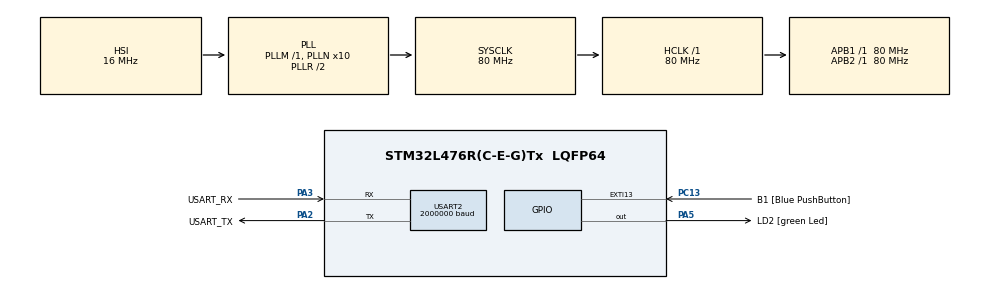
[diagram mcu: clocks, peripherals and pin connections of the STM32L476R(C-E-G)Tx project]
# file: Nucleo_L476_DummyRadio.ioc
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FREERTOS.Tasks01=defaultTask,0,128,StartDefaultTask,Default,NULL,Dynamic,NULL,NULL
Mcu.Family=STM32L4
Mcu.Name=STM32L476R(C-E-G)Tx
Mcu.Package=LQFP64
NVIC.PriorityGroup=NVIC_PRIORITYGROUP_4
NVIC.TIM6_DAC_IRQn=true\:15\:0\:false\:false\:true\:false\:false\:true\:true
NVIC.TimeBase=TIM6_DAC_IRQn
NVIC.TimeBaseIP=TIM6
PA13\ (JTMS-SWDIO).GPIO_Label=TMS
PA13\ (JTMS-SWDIO).Mode=Serial_Wire
PA13\ (JTMS-SWDIO).Signal=SYS_JTMS-SWDIO
PA14\ (JTCK-SWCLK).GPIO_Label=TCK
PA14\ (JTCK-SWCLK).Mode=Serial_Wire
PA14\ (JTCK-SWCLK).Signal=SYS_JTCK-SWCLK
PA2.GPIO_Label=USART_TX
PA2.GPIO_Mode=GPIO_MODE_AF_PP
PA2.GPIO_PuPd=GPIO_NOPULL
PA2.GPIO_Speed=GPIO_SPEED_FREQ_VERY_HIGH
PA2.Mode=Asynchronous
PA2.Signal=USART2_TX
PA3.GPIO_Label=USART_RX
PA3.GPIO_Mode=GPIO_MODE_AF_PP
PA3.GPIO_PuPd=GPIO_NOPULL
PA3.GPIO_Speed=GPIO_SPEED_FREQ_VERY_HIGH
PA3.Mode=Asynchronous
PA3.Signal=USART2_RX
PA5.GPIO_Label=LD2 [green Led]
PA5.GPIO_ModeDefaultOutputPP=GPIO_MODE_OUTPUT_PP
PA5.GPIO_PuPd=GPIO_NOPULL
PA5.GPIO_Speed=GPIO_SPEED_FREQ_LOW
PA5.Signal=GPIO_Output
PB3\ (JTDO-TRACESWO).GPIO_Label=SWO
PB3\ (JTDO-TRACESWO).Signal=SYS_JTDO-SWO
PC13.GPIO_Label=B1 [Blue PushButton]
PC13.GPIO_ModeDefaultEXTI=GPIO_MODE_IT_FALLING
PC13.GPIO_PuPd=GPIO_NOPULL
PC13.Signal=GPXTI13
PC14-OSC32_IN\ (PC14).Mode=LSE-External-Oscillator
PC14-OSC32_IN\ (PC14).Signal=RCC_OSC32_IN
PC15-OSC32_OUT\ (PC15).Mode=LSE-External-Oscillator
PC15-OSC32_OUT\ (PC15).Signal=RCC_OSC32_OUT
PH0-OSC_IN\ (PH0).Signal=RCC_OSC_IN
PH1-OSC_OUT\ (PH1).Signal=RCC_OSC_OUT
ProjectManager.HeapSize=0x200
ProjectManager.StackSize=0x400
ProjectManager.TargetToolchain=STM32CubeIDE
RCC.ADCFreq_Value=64000000
RCC.AHBFreq_Value=80000000
RCC.APB1Freq_Value=80000000
RCC.APB1TimFreq_Value=80000000
RCC.APB2Freq_Value=80000000
RCC.APB2TimFreq_Value=80000000
RCC.CortexFreq_Value=80000000
RCC.HCLKFreq_Value=80000000
RCC.HSE_VALUE=8000000
RCC.HSI_VALUE=16000000
RCC.MSI_VALUE=4000000
RCC.PLLN=10
RCC.PLLSourceVirtual=RCC_PLLSOURCE_HSI
RCC.PREFETCH_ENABLE=1
RCC.SYSCLKFreq_VALUE=80000000
RCC.SYSCLKSource=RCC_SYSCLKSOURCE_PLLCLK
RCC.USBFreq_Value=64000000
RCC.VCOOutputFreq_Value=160000000
USART2.BaudRate=2000000
USART2.VirtualMode-Asynchronous=VM_ASYNC
VP_CRC_VS_CRC.Mode=CRC_Activate
VP_FREERTOS_VS_CMSIS_V1.Mode=CMSIS_V1
VP_SYS_VS_tim6.Mode=TIM6
board=NUCLEO-L476RG

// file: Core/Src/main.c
/* USER CODE BEGIN Header */
/**
  ******************************************************************************
  * @file           : main.c
  * @brief          : Main program body
  ******************************************************************************
  * @attention
  *
  * <h2><center>&copy; Copyright (c) 2022 STMicroelectronics.
  * All rights reserved.</center></h2>
  *
  * This software component is licensed by ST under BSD 3-Clause license,
  * the "License"; You may not use this file except in compliance with the
  * License. You may obtain a copy of the License at:
  *                        opensource.org/licenses/BSD-3-Clause
  *
  ******************************************************************************
  */
/* USER CODE END Header */
#include "main.h"
#include "cmsis_os.h"

/* USER CODE BEGIN Includes */
#include <stdio.h>
#include <time.h>
#include <stdlib.h>
#include <stdint.h>
#include <string.h>
#include "pack_data.h"
#include "protocol_ids.h"
#include <stdbool.h>
/* USER CODE END Includes */

/* USER CODE BEGIN PD */
#define BSSR_SERIAL_START 0xa5
#define BSSR_SERIAL_ESCAPE 0x5a
#define BBMB_ADDRESS 0x01
#define PPTMB_ADDRESS 0x02
#define MCMB_ADDRESS 0x03
#define DCMB_ADDRESS 0x04

#define MAX_PACKET_SIZE 256
#define HEADER_LENGTH 4
#define CRC_LENGTH 4

//Data ID 00
#define BUS_METRICS_LENGTH 12
#define MC2_STATE_LENGTH 8
//Data ID 01
#define CELL_METRICS_LENGTH 20 //20 for each cell and there are 29 cell in total, single cell data send at once
#define PPT_METRICS_LENGTH 28 //16 for each ppt and there are 3 ptt in total + 4 non repeating initial bytes
#define SPEED_PULSE_READING_LENGTH 4
#define BBOX_STARTUP_LENGTH 4
//Data ID 02
#define BSD_LENGTH 4
#define MOTOR_TEMPERATURE_LENGTH 4
#define PPTBOX_STARTUP_LENGTH 4
//Data ID 03
#define BMS_MCU_STATUS_LENGTH 16
#define LIGHT_STATE_LENGTH 4
#define SUPP_BATTERY_LENGTH 8
//Data ID 04
#define STEERING_WHEEL_LENGTH 4
//Data ID 05
#define BMS_DATA_REQUEST_LENGTH 8
#define MOTOR_CONTROL_STATE_LENGTH 12
//Data ID 06
#define RELAY_STATE_LENGTH 8
//Data ID 07
#define PEDAL_ANGLE_LENGTH 12
#define BMS_CELL_TEMP_LENGTH 24
//Data ID 08
#define SIDE_PANEL_LENGTH 4
#define BMS_CELL_VOLT_LENGTH 24
//Data ID 09
#define BMS_CELL_SOC_LENGTH 24

//Data ID 0B
#define TEXT_STRING_LENGTH 4
//Data ID 0D
#define LP_BUS_METRICS_LENGTH 20
//Data ID 0E
#define CORE_TEMP_LENGTH 4
//Data ID 0F
#define  HEARTBEAT_LENGTH 4
/* USER CODE END PD */

CRC_HandleTypeDef hcrc;

UART_HandleTypeDef huart2;

osThreadId defaultTaskHandle;
/* USER CODE BEGIN PV */

uint8_t payload[1000];

//Data ID 00
uint8_t Bus_Metrics_Payload[BUS_METRICS_LENGTH];
uint8_t MC2_State_Payload[MC2_STATE_LENGTH];
//Data ID 01
uint8_t Cell_Metrics_Payload[CELL_METRICS_LENGTH];
uint8_t PPT_Metrics_Payload[PPT_METRICS_LENGTH];
uint8_t Speed_Pulse_Reading_Payload[SPEED_PULSE_READING_LENGTH];
uint8_t BBox_Startup_Payload[BBOX_STARTUP_LENGTH];
//Data ID 02
uint8_t BSD_Payload[BSD_LENGTH];
uint8_t Motor_Temperature_Payload[MOTOR_TEMPERATURE_LENGTH];
uint8_t PPTBox_Startup_Payload[PPTBOX_STARTUP_LENGTH];
//Data ID 03
uint8_t BMS_MCU_Status_Payload[BMS_MCU_STATUS_LENGTH];
uint8_t Light_State_Payload[LIGHT_STATE_LENGTH];
uint8_t Supp_Battery_Metric_Payload[SUPP_BATTERY_LENGTH];
//Data ID 04
uint8_t Streeting_Wheel_Payload[STEERING_WHEEL_LENGTH];
//Data ID 05
uint8_t BMS_Data_request[BMS_DATA_REQUEST_LENGTH];
uint8_t Motor_Control_State_Payload[MOTOR_CONTROL_STATE_LENGTH];
//Data ID 06
uint8_t Relay_State[RELAY_STATE_LENGTH];
//Data ID 07
uint8_t Pedal_Angle[PEDAL_ANGLE_LENGTH];
//Data ID 08
uint8_t Side_Panel[SIDE_PANEL_LENGTH];
//Data ID 0B
uint8_t Text_String[TEXT_STRING_LENGTH];
//Data ID 0D
uint8_t LP_Bus_Metrics_Payload[LP_BUS_METRICS_LENGTH];
//Data ID 0E
uint8_t Core_Temp_Payload[CORE_TEMP_LENGTH];
//Data ID 0F
uint8_t Heartbeat_Payload[HEARTBEAT_LENGTH];

//SeqNum is [0,255]
uint8_t BBMB_SeqNum = 0;
uint8_t PPTMB_SeqNum = 0;
uint8_t MCMB_SeqNum = 0;
uint8_t DCMB_SeqNum = 0;

/* USER CODE END PV */

void SystemClock_Config(void);
static void MX_GPIO_Init(void);
static void MX_USART2_UART_Init(void);
static void MX_CRC_Init(void);
void StartDefaultTask(void const * argument);

/* USER CODE BEGIN 0 */
/* DATA ASSUMPTIONS:
 * Temp Range: 20-60
 * Max Temp Range: 20-30
 * Min Temp Range: 40-60
 * Reference: Aymon
 *
 * Current Range: 0-2 (6 digits after decimal)
 * Reference: Visual inspection from GenX test telemetry data
 *
 * Voltage Range: 2-5 (6 digits after decimal)
 * Reference: Visual inspection from GenX test telemetry data
 *
 * Bus_Metrics_Generator:
 *   samples of aggregate(0x03): 0x01
 * Reference: GenX PPTMB -> main.c -> static void adcTask(const void *pv);
 *
 * PPT_Metrics_Generator:
 *   PPT numbers: 7
 *   # of Sample Aggregate: 0x01
 * Reference: GenX PPTMB -> main.c -> static void adcTask(const void *pv);
 *
 * Speed_Pulse_Reading_And_MOT_LED_State_Generator:
 *   MOT_LED state: 0-1
 *   Speed_pulse Hz(uint16_t count): 0-255
 * Reference: GenX MCMB -> main.c -> static void spdTmr(TimerHandle_t xTimer);
 *
 * MC2_State_Generator:
 *   5 digital Buttons: 00000-11110 = 0-30
 *   Acc Pot (outputVal): 0 or 0xff
 * Reference: GenX DCMB -> main.c -> static void mc2StateTmr(TimerHandle_t xTimer);
 *
 * BBox_Startup_Generator:
 *   State (ignition_state): 0-1
 * Reference: GenX DCMB -> main.c -> void ignition_check(uint8_t data);
 *
 * PPTBox_Startup_Generator:
 *   State (array_state): 0-1
 * Reference: GenX DCMB -> main.c -> void ignition_check(uint8_t data);
 *
 * Light_State_Generator:
 *   left, right, brake: 0-1
 * Reference: GenX DCMB -> main.c -> static void lightsTmr(TimerHandle_t xTimer);
 *
 * Horn_State_Generator:
 *   State (horn_on): 0-1
 * Reference: GenX DCMB -> main.c -> static void buttonCheck(uint8_t state);
 * */

//Generate a random value in [max, min]
//One byte can express number 0-255, thus max<=255 && min>=0 && max>min
uint8_t getRandomValue(int min, int max){
    uint8_t r = rand() % (max + 1 - min) + min;
    return r;
}

//Insert num of random value in p starting at p[startPos]
void insertRandomValue(uint8_t* p, int startPos, int num, int min, int max){
    for(int i = startPos; i<startPos+num; i++){
        uint8_t r = getRandomValue(min, max);
        *(p+i) = r;
    }
}

float getRandomFloat(int min, int max) {
    float random = ((float) rand()) / (float) RAND_MAX;
    float diff = max - min;
    float r = random * diff;
    return min + r;
}

//Data ID 00
//Data ID 00
void Bus_Metrics_Generator(uint8_t board_ID, uint8_t* p){
    *p = board_ID;
    *(p+1) = 0x00;
    *(p+2) = 0x00;
    *(p+3) = 0x01;
    insertRandomValue(p, 4, 8, 0, 255);
    *(p+12) = 0x00;

}
void MC2_State_Generator(uint8_t* p){
    *p = 0x00;
    insertRandomValue(p, 1, 1, 0, 30);
    *(p+2) = 0xff * getRandomValue(0,1);
    *(p+3) = 0x00;
    *(p+4) = 0x00;
    *(p+5) = 0x00;
    *(p+6) = 0x00;
    *(p+7) = 0x00;
}
//Data ID 01
void Cell_Metrics_Generator(uint8_t* p, uint8_t cellNum){
    *(p) = 0x01;
    *(p+1) = cellNum;
    *(p+2) = 0x00;
    *(p+3) = 0x01;
    insertRandomValue(p, 4, 16, 0, 255);
}
void PPT_Metrics_Generator(uint8_t* p){
    *p = PPTMB_PPT_METRICS_ID;
    *(p+1) = 7;
    *(p+2) = 0x00;
    *(p+3) = 0x01;
    *(p+4) = 0x00;
    *(p+5) = 0x00;
    *(p+6) = 0x00;
    *(p+7) = 0x00;
    insertRandomValue(p, 8, 4, 0, 255);
    *(p+12) = 0x00;
    *(p+13) = 0x00;
    *(p+14) = 0x00;
    *(p+15) = 0x00;
    *(p+16) = 0x00;
    *(p+17) = 0x00;
    *(p+18) = 0x00;
    *(p+19) = 0x00;
    *(p+20) = 0x00;
    *(p+21) = 0x00;
    *(p+22) = 0x00;
    *(p+23) = 0x00;
    *(p+24) = 0x00;
    *(p+25) = 0x00;
    *(p+26) = 0x00;
    *(p+27) = 0x00;
}
void Speed_Pulse_Reading_Generator(uint8_t* p){
    *p = 0x01;
    insertRandomValue(p, 1, 1, 0, 255);
    *(p+2) = 0x00;
    *(p+3) = 0x00;
}
void BBox_Startup_Generator(uint8_t* p){
    *p = 0x01;
    insertRandomValue(p, 1, 1, 0, 1);
    *(p+2) = 0x00;
    *(p+3) = 0x00;
}
//Data ID 02
void BSD_Generator(uint8_t* p){
    *p = 0x02;
    insertRandomValue(p, 1, 3, 0, 255);
}
void Motor_Temperature_Generator(uint8_t* p){
    *p = 0x02;
    insertRandomValue(p, 1, 1, 0, 40);
    *(p+2) = 0x00;
    *(p+3) = 0x00;
}
void PPTBox_Startup_Generator(uint8_t* p){
    *p = 0x02;
    insertRandomValue(p, 1, 1, 0, 1);
    *(p+2) = 0x00;
    *(p+3) = 0x00;
}
//Data ID 03
void BMS_MCU_Status_Generator(uint8_t* p){
    *p = 0x03;
    insertRandomValue(p, 1, 15, 0, 255);
}
void Light_State_Generator(uint8_t* p){
    *p = 0x03;
    insertRandomValue(p, 1, 3, 0, 1);
}
void Supp_Battery_Metric_Generator(uint8_t* p){
    *p = 0x03;
    insertRandomValue(p, 1, 7, 0, 1);
}
//Data ID 04
void Streeting_Wheel_Generator(uint8_t* p){
    *p = 0x04;
    insertRandomValue(p, 1, 1, 0, 1);
    *(p+2) = 0x00;
    *(p+3) = 0x00;
}
//Data ID 05
void BMS_Data_request_Generator(uint8_t* p){
    *p = 0x05;
    insertRandomValue(p,1,7,0,255); //insering random values for ID and current
}
void Motor_Control_State_Generator(uint8_t* p){
    *p = 0x05;
    insertRandomValue(p, 1, 11, 0, 1);
}
//Data ID 06
void Relay_State_Generator(uint8_t data_ID, uint8_t* p){
    *p = data_ID;
    insertRandomValue(p,1,7,0,1); //inserting 0 or 1 for all the other values
}
//Data ID 07
void Pedal_Angle_Generator(uint8_t* p){
    *p = 0x07;
    insertRandomValue(p,1,11,0,1);
}
void BMS_Cell_Temp_Generator(uint8_t* p) {
	float min = 20;
	float max = 100;
	p[0] = BMS_CELL_TEMP_ID;
	p[1] = getRandomValue(0, 6); // moduleID - representing one battery module
	p[2] = 0;
	p[3] = 0;
	floatToArray(getRandomFloat(min, max), p+4);
	floatToArray(getRandomFloat(min, max), p+8);
	floatToArray(getRandomFloat(min, max), p+12);
	floatToArray(getRandomFloat(min, max), p+16);
	floatToArray(getRandomFloat(min, max), p+20);
}

//Data ID 08
void Side_Panel_Generator(uint8_t* p){
    *p = 0x08;
    insertRandomValue(p,1,3,0,1);
}

void BMS_Cell_Volt_Generator(uint8_t* p) {
	float min = 3;  // cell voltage is between 3 and 4, usually around 3.7
	float max = 4;
	p[0] = BMS_CELL_VOLT_ID;
	p[1] = getRandomValue(0, 6); // moduleID
	p[2] = 0;
	p[3] = 0;
	floatToArray(getRandomFloat(min, max), p+4);
	floatToArray(getRandomFloat(min, max), p+8);
	floatToArray(getRandomFloat(min, max), p+12);
	floatToArray(getRandomFloat(min, max), p+16);
	floatToArray(getRandomFloat(min, max), p+20);
}

//Data ID 09
void BMS_Cell_SOC_Generator(uint8_t* p) {
	float min = 0;  // State of Charge is a percentage
	float max = 100;
	p[0] = BMS_CELL_SOC_ID;
	p[1] = getRandomValue(0, 6); // moduleID
	p[2] = 0;
	p[3] = 0;
	floatToArray(getRandomFloat(min, max), p+4);
	floatToArray(getRandomFloat(min, max), p+8);
	floatToArray(getRandomFloat(min, max), p+12);
	floatToArray(getRandomFloat(min, max), p+16);
	floatToArray(getRandomFloat(min, max), p+20);
}

//Data ID 0B
void Text_String_Generator(uint8_t* p){
    *p = 0x0b;
    insertRandomValue(p,1,7,0,26); //inserting random numbers from 0 26
}
//Data ID 0D
void LP_Bus_Metrics_Generator(uint8_t* p){
    *p = 0x0d;
    *(p+1) = 0x00;
    *(p+2) = 0x00;
    *(p+3) = 0x01;
    insertRandomValue(p, 4, 8, 0, 255);
    *(p+12) = 0x00;
    *(p+13) = 0x00;
    *(p+14) = 0x00;
    *(p+15) = 0x00;
    *(p+16) = 0x00;
    *(p+17) = 0x00;
    *(p+18) = 0x00;
     *(p+19) = 0x00;
}
//Data ID 0E
void Core_Temp_Generator(uint8_t* p){
    *p = 0x0e;
    insertRandomValue(p, 1, 3, 20, 60);
}
//Data ID 0F
void Heartbeat_Generator(uint8_t* p){
    *p = 0x0f;
    *(p+1) = 0x00;
    *(p+2) = 0x00;
    *(p+3) = 0x00;
}

void dummySend(uint8_t payloadLength, uint8_t senderAddress, uint8_t* seqNum, uint8_t* payload){

	uint8_t buf[HEADER_LENGTH + MAX_PACKET_SIZE + CRC_LENGTH];

	buf[0] = BSSR_SERIAL_START;
	buf[1] = payloadLength;
	buf[2] = senderAddress;
	buf[3] = *seqNum;
	memcpy(buf+4, payload, payloadLength);
	uint32_t crc_result = ~HAL_CRC_Calculate(&hcrc, (uint32_t*)buf, payloadLength+4);

	uint16_t buf_pos = 0;

	buf[buf_pos] = BSSR_SERIAL_START;
	buf_pos++;

	if(payloadLength == BSSR_SERIAL_START || payloadLength == BSSR_SERIAL_ESCAPE){
		buf[buf_pos] = BSSR_SERIAL_ESCAPE;
		buf_pos++;
		buf[buf_pos] = payloadLength;
		buf_pos++;
	} else{
		buf[buf_pos] = payloadLength;
		buf_pos++;
	}

	buf[buf_pos] = senderAddress;
	buf_pos++;

	if(*seqNum == BSSR_SERIAL_START || *seqNum == BSSR_SERIAL_ESCAPE){
		buf[buf_pos] = BSSR_SERIAL_ESCAPE;
		buf_pos++;
		buf[buf_pos] = *seqNum;
		buf_pos++;
	} else{
		buf[buf_pos] = *seqNum;
		buf_pos++;
	}
	(*seqNum)++;

	for(int i=0; i<payloadLength; i++){
		if(*(payload+i) == BSSR_SERIAL_ESCAPE || *(payload+i) == BSSR_SERIAL_START){
			buf[buf_pos] = BSSR_SERIAL_ESCAPE;
			buf_pos++;
			buf[buf_pos] = *(payload+i);
			buf_pos++;
		} else{
			buf[buf_pos] = *(payload+i);
			buf_pos++;
		}
	}

	for(int i=0; i<4; i++){
		uint8_t crc = (crc_result>>(8*(3-i))) & 255;
		if(crc == BSSR_SERIAL_ESCAPE || crc == BSSR_SERIAL_START){
			buf[buf_pos] = BSSR_SERIAL_ESCAPE;
			buf_pos++;
			buf[buf_pos] = crc;
			buf_pos++;
		} else{
			buf[buf_pos] = crc;
			buf_pos++;
		}
	}

	if(buf_pos%4 != 0) {
	        int paddingNum = 4 - buf_pos % 4;
	        for (int i = paddingNum; i > 0; i--) {
	            buf[buf_pos] = 0x00;
	            buf_pos++;
	        }
	    }

	HAL_UART_Transmit(&huart2, buf, buf_pos, HAL_MAX_DELAY);
}

void BBMB(){

	Bus_Metrics_Generator(BBMB_BUS_METRICS_ID, payload);
	dummySend(BUS_METRICS_LENGTH, BBMB_ADDRESS, &BBMB_SeqNum, payload);

	Relay_State_Generator(BBMB_RELAYS_STATE_ID, payload);
	dummySend(RELAY_STATE_LENGTH, BBMB_ADDRESS, &BBMB_SeqNum, payload);

	Heartbeat_Generator(payload);
	dummySend(HEARTBEAT_LENGTH, BBMB_ADDRESS, &BBMB_SeqNum, payload);

	BMS_Cell_Temp_Generator(payload);
	dummySend(BMS_CELL_TEMP_LENGTH, BBMB_ADDRESS, &BBMB_SeqNum, payload);

	BMS_Cell_Volt_Generator(payload);
	dummySend(BMS_CELL_VOLT_LENGTH, BBMB_ADDRESS, &BBMB_SeqNum, payload);

	BMS_Cell_SOC_Generator(payload);
	dummySend(BMS_CELL_SOC_LENGTH, BBMB_ADDRESS, &BBMB_SeqNum, payload);

}

void PPTMB(){

	Bus_Metrics_Generator(PPTMB_BUS_METRICS_ID, payload);
	dummySend(BUS_METRICS_LENGTH, PPTMB_ADDRESS, &PPTMB_SeqNum, payload);

	PPT_Metrics_Generator(payload);
	dummySend(PPT_METRICS_LENGTH, PPTMB_ADDRESS, &PPTMB_SeqNum, payload);

	Relay_State_Generator(PPTMB_RELAYS_STATE_ID, payload);
	dummySend(RELAY_STATE_LENGTH, BBMB_ADDRESS, &PPTMB_SeqNum, payload);

	Heartbeat_Generator(payload);
	dummySend(HEARTBEAT_LENGTH, BBMB_ADDRESS, &PPTMB_SeqNum, payload);

}

void MCMB(){

    //There are 6 data types in MCMB
    for(int i=0; i<6; i++){
        switch(i){
            case 0: //Send Bus Metrics Data
            {
                Bus_Metrics_Generator(MCMB_BUS_METRICS_ID, Bus_Metrics_Payload);
                dummySend(BUS_METRICS_LENGTH, MCMB_ADDRESS, &MCMB_SeqNum, Bus_Metrics_Payload);
                break;
            }
            case 1: //Send Speed Pulse Reading Data
            {
                Speed_Pulse_Reading_Generator(Speed_Pulse_Reading_Payload);
                dummySend(SPEED_PULSE_READING_LENGTH, MCMB_ADDRESS, &MCMB_SeqNum, Speed_Pulse_Reading_Payload);
                break;
            }
            case 2: //Send Motor Temperature Data
            {
                Motor_Temperature_Generator(Motor_Temperature_Payload);
                dummySend(MOTOR_TEMPERATURE_LENGTH, MCMB_ADDRESS, &MCMB_SeqNum, Motor_Temperature_Payload);
                break;
            }
            /*case 3: //Send LP Bus Metrics Data
            {
                LP_Bus_Metrics_Generator(LP_Bus_Metrics_Payload);
                dummySend(LP_BUS_METRICS_LENGTH, MCMB_ADDRESS, &MCMB_SeqNum, LP_Bus_Metrics_Payload);
                break;
            } */
            case 3: //Supp Battery metric
            {
                Supp_Battery_Metric_Generator(Supp_Battery_Metric_Payload);
                dummySend(SUPP_BATTERY_LENGTH, MCMB_ADDRESS, &MCMB_SeqNum, Supp_Battery_Metric_Payload);
                break;
            }
            /*case 4: //Send Core Temp Data
            {
                Core_Temp_Generator(Core_Temp_Payload);
                dummySend(CORE_TEMP_LENGTH, MCMB_ADDRESS, &MCMB_SeqNum, Core_Temp_Payload);
                break;
            } */
            /*case 5: //Send Heartbeat Data
            {
                Heartbeat_Generator(Heartbeat_Payload);
                dummySend(HEARTBEAT_LENGTH, MCMB_ADDRESS, &MCMB_SeqNum, Heartbeat_Payload);
                break;
            } */
            case 11: //send text string
            {
                Text_String_Generator(Text_String);
                dummySend(TEXT_STRING_LENGTH, BBMB_ADDRESS, &BBMB_SeqNum, Text_String);
                break;
            }
            case 14: //Send Core Temp Data
            {
                Core_Temp_Generator(Core_Temp_Payload);
                dummySend(CORE_TEMP_LENGTH, BBMB_ADDRESS, &BBMB_SeqNum, Core_Temp_Payload);
                break;
            }
            case 15: //Send Heartbeat Data
            {
                Heartbeat_Generator(Heartbeat_Payload);
                dummySend(HEARTBEAT_LENGTH, BBMB_ADDRESS, &BBMB_SeqNum, Heartbeat_Payload);
                break;
            }
        }
    }
}

void DCMB(){

    //There are 8 data types in DCMB
    for(int i=0; i<8; i++){

        switch(i){
            case 0: //Send MC2 State Data
            {
                MC2_State_Generator(MC2_State_Payload);
                dummySend(MC2_STATE_LENGTH, DCMB_ADDRESS, &DCMB_SeqNum, MC2_State_Payload);
                break;
            }
            case 1: //Send BBox Startup Data
            {
                BBox_Startup_Generator(BBox_Startup_Payload);
                dummySend(BBOX_STARTUP_LENGTH, DCMB_ADDRESS, &DCMB_SeqNum, BBox_Startup_Payload);
                break;
            }
            case 2: //Send PPTBox Startup Data
            {
                PPTBox_Startup_Generator(PPTBox_Startup_Payload);
                dummySend(PPTBOX_STARTUP_LENGTH, DCMB_ADDRESS, &DCMB_SeqNum, PPTBox_Startup_Payload);
                break;
            }
            case 3: //Send Light State Data
            {
                Light_State_Generator(Light_State_Payload);
                dummySend(LIGHT_STATE_LENGTH, DCMB_ADDRESS, &DCMB_SeqNum, Light_State_Payload);
                break;
            }
            case 4: //Send Steering wheel Data
            {
                Streeting_Wheel_Generator(Streeting_Wheel_Payload);
                dummySend(STEERING_WHEEL_LENGTH, DCMB_ADDRESS, &DCMB_SeqNum, Streeting_Wheel_Payload);
                break;
            }
            /*case 5: //Send LP Bus Metrics Data
            {
                LP_Bus_Metrics_Generator(LP_Bus_Metrics_Payload);
                dummySend(LP_BUS_METRICS_LENGTH, DCMB_ADDRESS, &DCMB_SeqNum, LP_Bus_Metrics_Payload);
                break;
            } */
            case 5: //motor control state
            {
                Motor_Control_State_Generator(Motor_Control_State_Payload);
                dummySend(MOTOR_CONTROL_STATE_LENGTH, DCMB_ADDRESS, &DCMB_SeqNum, Motor_Control_State_Payload);
                break;
            }
            /*case 6: //Send Core Temp Data
            {
                Core_Temp_Generator(Core_Temp_Payload);
                dummySend(CORE_TEMP_LENGTH, DCMB_ADDRESS, &DCMB_SeqNum, Core_Temp_Payload);
                break;
            } */
            /*case 7: //Send Heartbeat Data
            {
                Heartbeat_Generator(Heartbeat_Payload);
                dummySend(HEARTBEAT_LENGTH, DCMB_ADDRESS, &DCMB_SeqNum, Heartbeat_Payload);
                break;
            } */
            case 6: //send relay state
            {
                Relay_State_Generator(DCMB_RELAYS_STATE_ID, Relay_State);
                dummySend(RELAY_STATE_LENGTH, BBMB_ADDRESS, &BBMB_SeqNum, Relay_State);
                break;
            }
            case 7: //pedals angle
            {
                Pedal_Angle_Generator(Pedal_Angle);
                dummySend(PEDAL_ANGLE_LENGTH, BBMB_ADDRESS, &BBMB_SeqNum, Pedal_Angle);
                break;
            }
            case 8: //side panel
            {
                Side_Panel_Generator(Side_Panel);
                dummySend(SIDE_PANEL_LENGTH, BBMB_ADDRESS, &BBMB_SeqNum, Side_Panel);
                break;
            }
            case 11: //send text string
            {
                Text_String_Generator(Text_String);
                dummySend(TEXT_STRING_LENGTH, BBMB_ADDRESS, &BBMB_SeqNum, Text_String);
                break;
            }
            case 14: //Send Core Temp Data
            {
                Core_Temp_Generator(Core_Temp_Payload);
                dummySend(CORE_TEMP_LENGTH, BBMB_ADDRESS, &BBMB_SeqNum, Core_Temp_Payload);
                break;
            }
            case 15: //Send Heartbeat Data
            {
                Heartbeat_Generator(Heartbeat_Payload);
                dummySend(HEARTBEAT_LENGTH, BBMB_ADDRESS, &BBMB_SeqNum, Heartbeat_Payload);
                break;
            }
        }
    }
}
/* USER CODE END 0 */

int main(void)
{

  /* MCU Configuration--------------------------------------------------------*/

  /* Reset of all peripherals, Initializes the Flash interface and the Systick. */
  HAL_Init();

  /* Configure the system clock */
  SystemClock_Config();

  /* Initialize all configured peripherals */
  MX_GPIO_Init();
  MX_USART2_UART_Init();
  MX_CRC_Init();
  /* USER CODE BEGIN 2 */
  srand(time(NULL));
  /* USER CODE END 2 */

  /* Create the thread(s) */
  /* definition and creation of defaultTask */
  osThreadDef(defaultTask, StartDefaultTask, osPriorityNormal, 0, 128);
  defaultTaskHandle = osThreadCreate(osThread(defaultTask), NULL);

  /* Start scheduler */
  osKernelStart();

  /* We should never get here as control is now taken by the scheduler */
  /* Infinite loop */
  /* USER CODE BEGIN WHILE */
  while (1)
  {
	 BBMB();
	 PPTMB();
	 MCMB();
	 DCMB();
    /* USER CODE END WHILE */

  }
}

void SystemClock_Config(void)
{
  RCC_OscInitTypeDef RCC_OscInitStruct = {0};
  RCC_ClkInitTypeDef RCC_ClkInitStruct = {0};

  /** Configure the main internal regulator output voltage
  */
  if (HAL_PWREx_ControlVoltageScaling(PWR_REGULATOR_VOLTAGE_SCALE1) != HAL_OK)
  {
    Error_Handler();
  }
  /** Initializes the RCC Oscillators according to the specified parameters
  * in the RCC_OscInitTypeDef structure.
  */
  RCC_OscInitStruct.OscillatorType = RCC_OSCILLATORTYPE_HSI;
  RCC_OscInitStruct.HSIState = RCC_HSI_ON;
  RCC_OscInitStruct.HSICalibrationValue = RCC_HSICALIBRATION_DEFAULT;
  RCC_OscInitStruct.PLL.PLLState = RCC_PLL_ON;
  RCC_OscInitStruct.PLL.PLLSource = RCC_PLLSOURCE_HSI;
  RCC_OscInitStruct.PLL.PLLM = 1;
  RCC_OscInitStruct.PLL.PLLN = 10;
  RCC_OscInitStruct.PLL.PLLP = RCC_PLLP_DIV7;
  RCC_OscInitStruct.PLL.PLLQ = RCC_PLLQ_DIV2;
  RCC_OscInitStruct.PLL.PLLR = RCC_PLLR_DIV2;
  if (HAL_RCC_OscConfig(&RCC_OscInitStruct) != HAL_OK)
  {
    Error_Handler();
  }
  /** Initializes the CPU, AHB and APB buses clocks
  */
  RCC_ClkInitStruct.ClockType = RCC_CLOCKTYPE_HCLK|RCC_CLOCKTYPE_SYSCLK
                              |RCC_CLOCKTYPE_PCLK1|RCC_CLOCKTYPE_PCLK2;
  RCC_ClkInitStruct.SYSCLKSource = RCC_SYSCLKSOURCE_PLLCLK;
  RCC_ClkInitStruct.AHBCLKDivider = RCC_SYSCLK_DIV1;
  RCC_ClkInitStruct.APB1CLKDivider = RCC_HCLK_DIV1;
  RCC_ClkInitStruct.APB2CLKDivider = RCC_HCLK_DIV1;

  if (HAL_RCC_ClockConfig(&RCC_ClkInitStruct, FLASH_LATENCY_4) != HAL_OK)
  {
    Error_Handler();
  }
}

static void MX_CRC_Init(void)
{

  hcrc.Instance = CRC;
  hcrc.Init.DefaultPolynomialUse = DEFAULT_POLYNOMIAL_ENABLE;
  hcrc.Init.DefaultInitValueUse = DEFAULT_INIT_VALUE_ENABLE;
  hcrc.Init.InputDataInversionMode = CRC_INPUTDATA_INVERSION_NONE;
  hcrc.Init.OutputDataInversionMode = CRC_OUTPUTDATA_INVERSION_DISABLE;
  hcrc.InputDataFormat = CRC_INPUTDATA_FORMAT_BYTES;
  if (HAL_CRC_Init(&hcrc) != HAL_OK)
  {
    Error_Handler();
  }

}

static void MX_USART2_UART_Init(void)
{

  huart2.Instance = USART2;
  huart2.Init.BaudRate = 2000000;
  huart2.Init.WordLength = UART_WORDLENGTH_8B;
  huart2.Init.StopBits = UART_STOPBITS_1;
  huart2.Init.Parity = UART_PARITY_NONE;
  huart2.Init.Mode = UART_MODE_TX_RX;
  huart2.Init.HwFlowCtl = UART_HWCONTROL_NONE;
  huart2.Init.OverSampling = UART_OVERSAMPLING_16;
  huart2.Init.OneBitSampling = UART_ONE_BIT_SAMPLE_DISABLE;
  huart2.AdvancedInit.AdvFeatureInit = UART_ADVFEATURE_NO_INIT;
  if (HAL_UART_Init(&huart2) != HAL_OK)
  {
    Error_Handler();
  }

}

static void MX_GPIO_Init(void)
{
  GPIO_InitTypeDef GPIO_InitStruct = {0};

  /* GPIO Ports Clock Enable */
  __HAL_RCC_GPIOC_CLK_ENABLE();
  __HAL_RCC_GPIOH_CLK_ENABLE();
  __HAL_RCC_GPIOA_CLK_ENABLE();
  __HAL_RCC_GPIOB_CLK_ENABLE();

  /*Configure GPIO pin Output Level */
  HAL_GPIO_WritePin(LD2_GPIO_Port, LD2_Pin, GPIO_PIN_RESET);

  /*Configure GPIO pin : B1_Pin */
  GPIO_InitStruct.Pin = B1_Pin;
  GPIO_InitStruct.Mode = GPIO_MODE_IT_FALLING;
  GPIO_InitStruct.Pull = GPIO_NOPULL;
  HAL_GPIO_Init(B1_GPIO_Port, &GPIO_InitStruct);

  /*Configure GPIO pin : LD2_Pin */
  GPIO_InitStruct.Pin = LD2_Pin;
  GPIO_InitStruct.Mode = GPIO_MODE_OUTPUT_PP;
  GPIO_InitStruct.Pull = GPIO_NOPULL;
  GPIO_InitStruct.Speed = GPIO_SPEED_FREQ_LOW;
  HAL_GPIO_Init(LD2_GPIO_Port, &GPIO_InitStruct);

}

void StartDefaultTask(void const * argument)
{
  for(;;)
  {
    osDelay(1);
  }
}

void HAL_TIM_PeriodElapsedCallback(TIM_HandleTypeDef *htim)
{
  if (htim->Instance == TIM6) {
    HAL_IncTick();
  }
}

void Error_Handler(void)
{
  __disable_irq();
  while (1)
  {
  }
}

/************************ (C) COPYRIGHT STMicroelectronics *****END OF FILE****/
